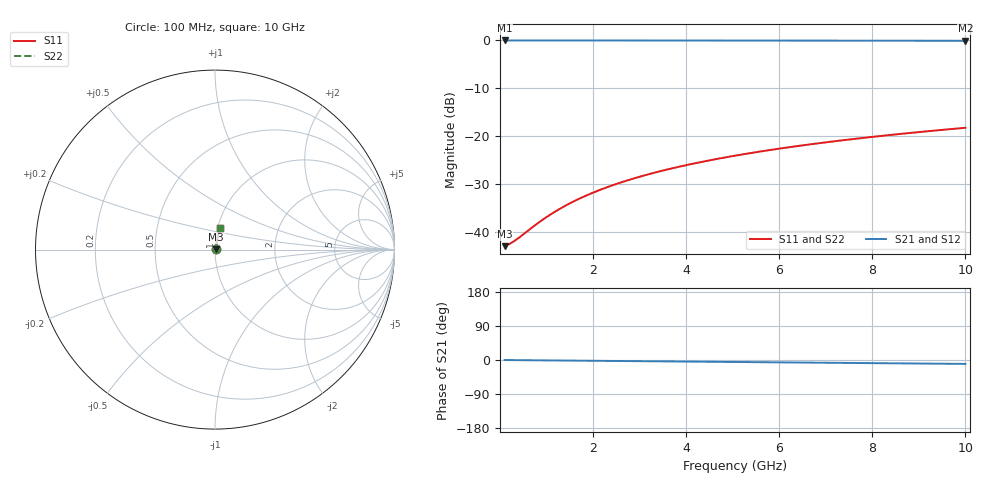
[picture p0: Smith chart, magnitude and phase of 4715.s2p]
# Hz S RI R 50.00
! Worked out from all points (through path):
!   100 points, 100 MHz to 10 GHz, reference 50 ohm
!   highest |S21| = -0.06 dB at 100 MHz (marker M1); lowest = -0.1 dB at 10 GHz (marker M2)
!   group delay of S21, straight-line fit = 2.87 ps
!   lowest |S11| = -43.0 dB at 100 MHz (marker M3), VSWR 1.01, Z = 50.7 + j0.123 ohm
!   |S11| at or under -10 dB: start of sweep to end of sweep
!   |S22| runs from -43.0 to -18.3 dB; largest |S21 - S12| = 0
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1e8  0.00695 0.00121  0.9931 -0.0018  0.9931 -0.0018  0.00695 0.00121
2e8  0.007 0.00242  0.993 -0.00359  0.993 -0.00359  0.007 0.00242
3e8  0.00704 0.00364  0.993 -0.00539  0.993 -0.00539  0.00704 0.00364
4e8  0.00709 0.00485  0.9929 -0.00718  0.9929 -0.00718  0.00709 0.00485
8e8  0.00727 0.00969  0.9927 -0.0144  0.9927 -0.0144  0.00727 0.00969
1.1e9  0.00744 0.0133  0.9925 -0.0197  0.9925 -0.0197  0.00744 0.0133
1.4e9  0.00764 0.017  0.9923 -0.0251  0.9923 -0.0251  0.00764 0.017
1.6e9  0.00779 0.0194  0.9922 -0.0287  0.9922 -0.0287  0.00779 0.0194
1.8e9  0.00796 0.0218  0.992 -0.0323  0.992 -0.0323  0.00796 0.0218
2.1e9  0.00824 0.0254  0.9917 -0.0377  0.9917 -0.0377  0.00824 0.0254
2.5e9  0.00868 0.0302  0.9912 -0.0448  0.9912 -0.0448  0.00868 0.0302
2.9e9  0.00918 0.0351  0.9907 -0.052  0.9907 -0.052  0.00918 0.0351
3.4e9  0.0099 0.0411  0.9899 -0.0609  0.9899 -0.0609  0.0099 0.0411
3.8e9  0.0106 0.0459  0.9892 -0.0681  0.9892 -0.0681  0.0106 0.0459
4.2e9  0.0113 0.0506  0.9884 -0.0752  0.9884 -0.0752  0.0113 0.0506
4.6e9  0.0121 0.0554  0.9875 -0.0823  0.9875 -0.0823  0.0121 0.0554
5.1e9  0.0132 0.0613  0.9864 -0.0911  0.9864 -0.0911  0.0132 0.0613
5.9e9  0.0151 0.0708  0.9843 -0.1053  0.9843 -0.1053  0.0151 0.0708
6.7e9  0.0173 0.0802  0.9819 -0.1194  0.9819 -0.1194  0.0173 0.0802
7.5e9  0.0198 0.0895  0.9792 -0.1333  0.9792 -0.1333  0.0198 0.0895
8.4e9  0.0229 0.0998  0.9758 -0.149  0.9758 -0.149  0.0229 0.0998
1e10  0.0292 0.1179  0.969 -0.1765  0.969 -0.1765  0.0292 0.1179
